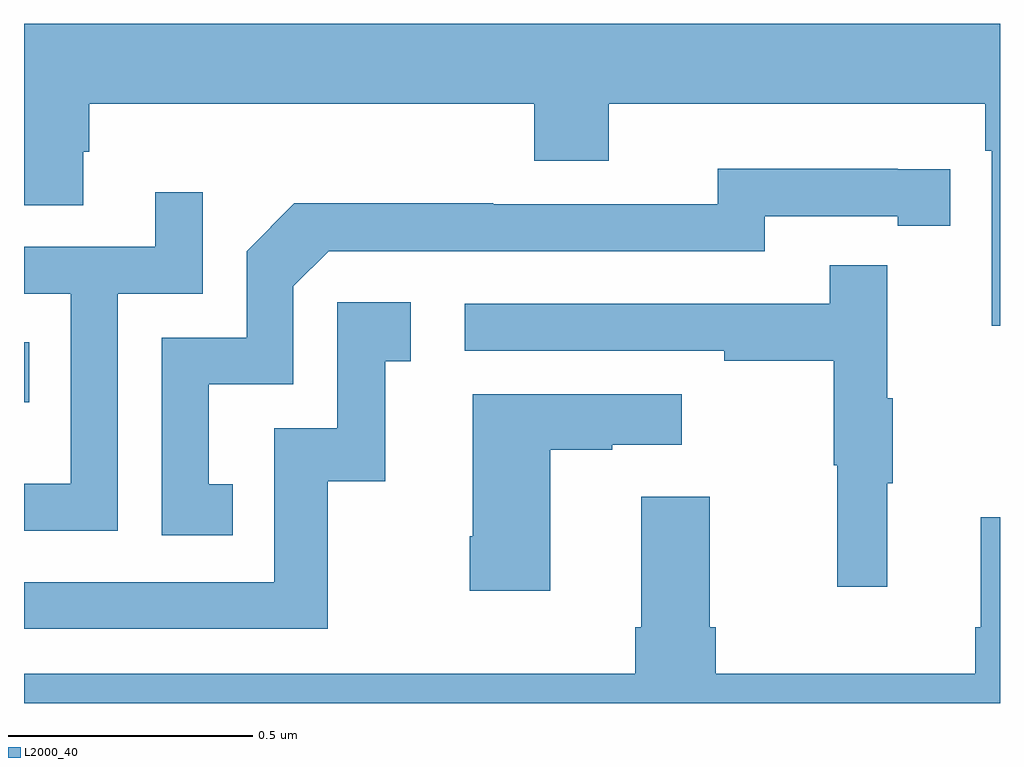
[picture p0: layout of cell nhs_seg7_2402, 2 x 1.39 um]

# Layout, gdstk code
import gdstk
lib = gdstk.Library(unit=1e-6, precision=1e-09)
def R(c, l, rs):  # rectangles x0, y0, x1, y1
    for r in rs: c.add(gdstk.rectangle(r[:2], r[2:], *l))
def P(c, l, *ps):  # polygons
    for p in ps: c.add(gdstk.Polygon(p, *l))
L2000_40 = (2000, 40)

nhs_seg7_2402 = lib.new_cell('nhs_seg7_2402')
R(nhs_seg7_2402, L2000_40, [(144,1054.617,144.011,1054.74)])
P(nhs_seg7_2402, L2000_40, [(146,1055.392),(144,1055.392),(144,1055.02),(144.121,1055.02),(144.121,1055.13),(144.134,1055.13),(144.134,1055.228),(145.046,1055.228),(145.046,1055.111),(145.198,1055.111),(145.198,1055.228),(145.97,1055.228),(145.97,1055.132),(145.983,1055.132),(145.983,1054.773),(146,1054.773)],
  [(144.428,1054.449),(144.379,1054.449),(144.379,1054.653),(144.552,1054.653),(144.552,1054.854),(144.624,1054.926),(145.518,1054.926),(145.518,1054.998),(145.79,1054.998),(145.79,1054.978),(145.898,1054.978),(145.898,1055.094),(145.79,1055.094),(145.79,1055.095),(145.422,1055.095),(145.422,1055.022),(144.962,1055.022),(144.962,1055.024),(144.554,1055.024),(144.456,1054.926),(144.456,1054.749),(144.282,1054.749),(144.282,1054.344),(144.428,1054.344)],
  [(144.192,1054.839),(144.366,1054.839),(144.366,1055.047),(144.269,1055.047),(144.269,1054.935),(144,1054.935),(144,1054.839),(144.096,1054.839),(144.096,1054.45),(144,1054.45),(144,1054.353),(144.192,1054.353)],
  [(145.769,1054.451),(145.78,1054.451),(145.78,1054.625),(145.769,1054.625),(145.769,1054.897),(145.651,1054.897),(145.651,1054.818),(144.903,1054.818),(144.903,1054.722),(145.435,1054.722),(145.435,1054.702),(145.659,1054.702),(145.659,1054.488),(145.666,1054.488),(145.666,1054.239),(145.769,1054.239)],
  [(144.622,1054.455),(144.74,1054.455),(144.74,1054.701),(144.793,1054.701),(144.793,1054.822),(144.642,1054.822),(144.642,1054.563),(144.513,1054.563),(144.513,1054.248),(144,1054.248),(144,1054.152),(144.622,1054.152)],
  [(145.078,1054.519),(145.205,1054.519),(145.205,1054.529),(145.348,1054.529),(145.348,1054.633),(144.92,1054.633),(144.92,1054.342),(144.913,1054.342),(144.913,1054.23),(145.078,1054.23)],
  [(146,1054.381),(145.961,1054.381),(145.961,1054.156),(145.949,1054.156),(145.949,1054.06),(145.418,1054.06),(145.418,1054.156),(145.405,1054.156),(145.405,1054.423),(145.265,1054.423),(145.265,1054.156),(145.253,1054.156),(145.253,1054.06),(144,1054.06),(144,1054),(146,1054)])

lib.write_gds('nhs_seg7_2402.gds')
